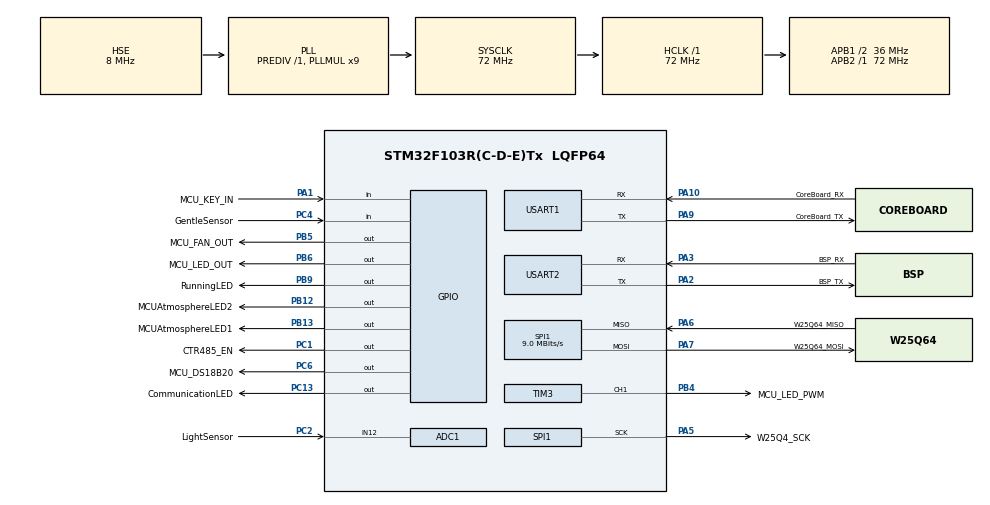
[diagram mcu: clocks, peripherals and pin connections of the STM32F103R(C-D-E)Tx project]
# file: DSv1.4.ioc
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ADC1.Channel-0\#ChannelRegularConversion=ADC_CHANNEL_12
ADC1.Channel-1\#ChannelRegularConversion=ADC_CHANNEL_TEMPSENSOR
ADC1.ContinuousConvMode=ENABLE
ADC1.DataAlign=ADC_DATAALIGN_RIGHT
ADC1.DiscontinuousConvMode=DISABLE
ADC1.EnableAnalogWatchDog=false
ADC1.EnableRegularConversion=ENABLE
ADC1.ExternalTrigConv=ADC_SOFTWARE_START
ADC1.InjNumberOfConversion=0
ADC1.NbrOfConversion=2
ADC1.NbrOfConversionFlag=1
ADC1.Rank-0\#ChannelRegularConversion=1
ADC1.Rank-1\#ChannelRegularConversion=2
ADC1.SamplingTime-0\#ChannelRegularConversion=ADC_SAMPLETIME_71CYCLES_5
ADC1.SamplingTime-1\#ChannelRegularConversion=ADC_SAMPLETIME_71CYCLES_5
ADC1.ScanConvMode=ADC_SCAN_ENABLE
ADC1.master=1
Dma.ADC1.4.Direction=DMA_PERIPH_TO_MEMORY
Dma.ADC1.4.Instance=DMA1_Channel1
Dma.ADC1.4.MemDataAlignment=DMA_MDATAALIGN_WORD
Dma.ADC1.4.MemInc=DMA_MINC_ENABLE
Dma.ADC1.4.Mode=DMA_CIRCULAR
Dma.ADC1.4.PeriphDataAlignment=DMA_PDATAALIGN_WORD
Dma.ADC1.4.PeriphInc=DMA_PINC_DISABLE
Dma.ADC1.4.Priority=DMA_PRIORITY_LOW
Dma.Request0=USART1_RX
Dma.Request1=USART1_TX
Dma.Request2=USART2_RX
Dma.Request3=USART2_TX
Dma.Request4=ADC1
Dma.USART1_RX.0.Direction=DMA_PERIPH_TO_MEMORY
Dma.USART1_RX.0.Instance=DMA1_Channel5
Dma.USART1_RX.0.MemDataAlignment=DMA_MDATAALIGN_BYTE
Dma.USART1_RX.0.MemInc=DMA_MINC_ENABLE
Dma.USART1_RX.0.Mode=DMA_NORMAL
Dma.USART1_RX.0.PeriphDataAlignment=DMA_PDATAALIGN_BYTE
Dma.USART1_RX.0.PeriphInc=DMA_PINC_DISABLE
Dma.USART1_RX.0.Priority=DMA_PRIORITY_LOW
Dma.USART1_TX.1.Direction=DMA_MEMORY_TO_PERIPH
Dma.USART1_TX.1.Instance=DMA1_Channel4
Dma.USART1_TX.1.MemDataAlignment=DMA_MDATAALIGN_BYTE
Dma.USART1_TX.1.MemInc=DMA_MINC_ENABLE
Dma.USART1_TX.1.Mode=DMA_NORMAL
Dma.USART1_TX.1.PeriphDataAlignment=DMA_PDATAALIGN_BYTE
Dma.USART1_TX.1.PeriphInc=DMA_PINC_DISABLE
Dma.USART1_TX.1.Priority=DMA_PRIORITY_LOW
Dma.USART2_RX.2.Direction=DMA_PERIPH_TO_MEMORY
Dma.USART2_RX.2.Instance=DMA1_Channel6
Dma.USART2_RX.2.MemDataAlignment=DMA_MDATAALIGN_BYTE
Dma.USART2_RX.2.MemInc=DMA_MINC_ENABLE
Dma.USART2_RX.2.Mode=DMA_NORMAL
Dma.USART2_RX.2.PeriphDataAlignment=DMA_PDATAALIGN_BYTE
Dma.USART2_RX.2.PeriphInc=DMA_PINC_DISABLE
Dma.USART2_RX.2.Priority=DMA_PRIORITY_LOW
Dma.USART2_TX.3.Direction=DMA_MEMORY_TO_PERIPH
Dma.USART2_TX.3.Instance=DMA1_Channel7
Dma.USART2_TX.3.MemDataAlignment=DMA_MDATAALIGN_BYTE
Dma.USART2_TX.3.MemInc=DMA_MINC_ENABLE
Dma.USART2_TX.3.Mode=DMA_NORMAL
Dma.USART2_TX.3.PeriphDataAlignment=DMA_PDATAALIGN_BYTE
Dma.USART2_TX.3.PeriphInc=DMA_PINC_DISABLE
Dma.USART2_TX.3.Priority=DMA_PRIORITY_LOW
Mcu.Family=STM32F1
Mcu.Name=STM32F103R(C-D-E)Tx
Mcu.Package=LQFP64
NVIC.ADC1_2_IRQn=true\:0\:0\:false\:true\:true\:10\:true
NVIC.DMA1_Channel1_IRQn=true\:0\:0\:false\:true\:true\:5\:false
NVIC.DMA1_Channel4_IRQn=true\:0\:0\:false\:true\:true\:6\:false
NVIC.DMA1_Channel5_IRQn=true\:0\:0\:false\:true\:true\:7\:false
NVIC.DMA1_Channel6_IRQn=true\:0\:0\:false\:true\:true\:8\:false
NVIC.DMA1_Channel7_IRQn=true\:0\:0\:false\:true\:true\:9\:false
NVIC.PriorityGroup=NVIC_PRIORITYGROUP_4
NVIC.TIM3_IRQn=true\:0\:0\:false\:true\:true\:11\:true
NVIC.TIM4_IRQn=true\:0\:0\:false\:true\:true\:1\:true
NVIC.TIM5_IRQn=true\:0\:0\:false\:true\:true\:2\:true
NVIC.USART1_IRQn=true\:0\:0\:false\:true\:true\:3\:true
NVIC.USART2_IRQn=true\:0\:0\:false\:true\:true\:4\:true
PA1.GPIO_Label=MCU_KEY_IN
PA1.Signal=GPIO_Input
PA10.GPIO_Label=CoreBoard_RX
PA10.GPIO_PuPd=GPIO_PULLUP
PA10.Mode=Asynchronous
PA10.Signal=USART1_RX
PA13.Mode=Serial_Wire
PA13.Signal=SYS_JTMS-SWDIO
PA14.Mode=Serial_Wire
PA14.Signal=SYS_JTCK-SWCLK
PA2.GPIO_Label=BSP_TX
PA2.Mode=Asynchronous
PA2.Signal=USART2_TX
PA3.GPIO_Label=BSP_RX
PA3.GPIO_PuPd=GPIO_PULLUP
PA3.Mode=Asynchronous
PA3.Signal=USART2_RX
PA5.GPIO_Label=W25Q4_SCK
PA5.Mode=Full_Duplex_Master
PA5.Signal=SPI1_SCK
PA6.GPIO_Label=W25Q64_MISO
PA6.Mode=Full_Duplex_Master
PA6.Signal=SPI1_MISO
PA7.GPIO_Label=W25Q64_MOSI
PA7.Mode=Full_Duplex_Master
PA7.Signal=SPI1_MOSI
PA9.GPIO_Label=CoreBoard_TX
PA9.GPIO_Mode=GPIO_MODE_AF_PP
PA9.Mode=Asynchronous
PA9.Signal=USART1_TX
PB12.GPIO_Label=MCUAtmosphereLED2
PB12.Signal=GPIO_Output
PB13.GPIO_Label=MCUAtmosphereLED1
PB13.Signal=GPIO_Output
PB4.GPIO_Label=MCU_LED_PWM
PB4.Signal=S_TIM3_CH1
PB5.GPIO_Label=MCU_FAN_OUT
PB5.Signal=GPIO_Output
PB6.GPIO_Label=MCU_LED_OUT
PB6.Signal=GPIO_Output
PB9.GPIO_Label=RunningLED
PB9.Signal=GPIO_Output
PC1.GPIO_Label=CTR485_EN
PC1.GPIO_ModeDefaultOutputPP=GPIO_MODE_OUTPUT_PP
PC1.Signal=GPIO_Output
PC13-TAMPER-RTC.GPIO_Label=CommunicationLED
PC13-TAMPER-RTC.Signal=GPIO_Output
PC2.GPIO_Label=LightSensor
PC2.Signal=ADCx_IN12
PC4.GPIO_Label=GentleSensor
PC4.GPIO_PuPd=GPIO_PULLUP
PC4.Signal=GPIO_Input
PC6.GPIO_Label=MCU_DS18B20
PC6.Signal=GPIO_Output
PD0-OSC_IN.Mode=HSE-External-Oscillator
PD0-OSC_IN.Signal=RCC_OSC_IN
PD1-OSC_OUT.Mode=HSE-External-Oscillator
PD1-OSC_OUT.Signal=RCC_OSC_OUT
ProjectManager.HeapSize=0x200
ProjectManager.StackSize=0x400
ProjectManager.TargetToolchain=Other Toolchains (GPDSC)
RCC.ADCPresc=RCC_ADCPCLK2_DIV6
RCC.AHBFreq_Value=72000000
RCC.APB1CLKDivider=RCC_HCLK_DIV2
RCC.APB1Freq_Value=36000000
RCC.APB1TimFreq_Value=72000000
RCC.APB2Freq_Value=72000000
RCC.APB2TimFreq_Value=72000000
RCC.HCLKFreq_Value=72000000
RCC.PLLMUL=RCC_PLL_MUL9
RCC.PLLSourceVirtual=RCC_PLLSOURCE_HSE
RCC.SYSCLKFreq_VALUE=72000000
RCC.SYSCLKSource=RCC_SYSCLKSOURCE_PLLCLK
RCC.USBFreq_Value=72000000
SH.ADCx_IN12.0=ADC1_IN12,IN12
SH.S_TIM3_CH1.0=TIM3_CH1,PWM Generation1 CH1
SPI1.BaudRatePrescaler=SPI_BAUDRATEPRESCALER_8
SPI1.CLKPhase=SPI_PHASE_2EDGE
SPI1.CLKPolarity=SPI_POLARITY_HIGH
SPI1.CalculateBaudRate=9.0 MBits/s
SPI1.DataSize=SPI_DATASIZE_16BIT
SPI1.Direction=SPI_DIRECTION_2LINES
SPI1.Mode=SPI_MODE_MASTER
SPI1.VirtualType=VM_MASTER
TIM3.Channel-PWM\ Generation1\ CH1=TIM_CHANNEL_1
TIM3.Period=4000-1
TIM3.Prescaler=72-1
TIM4.Period=100-1
TIM4.Prescaler=72-1
TIM5.Period=1000-1
TIM5.Prescaler=72-1
USART1.VirtualMode=VM_ASYNC
USART2.VirtualMode=VM_ASYNC
VP_ADC1_TempSens_Input.Mode=IN-TempSens
VP_TIM4_VS_ClockSourceINT.Mode=Internal
VP_TIM5_VS_ClockSourceINT.Mode=Internal
board=DSv1.4

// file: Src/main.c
/**
  ******************************************************************************
  * File Name          : main.c
  * Description        : Main program body
  ******************************************************************************
  ** This notice applies to any and all portions of this file
  * that are not between comment pairs USER CODE BEGIN and
  * USER CODE END. Other portions of this file, whether
  * inserted by the user or by software development tools
  * are owned by their respective copyright owners.
  *
  * COPYRIGHT(c) 2018 STMicroelectronics
  *
  * Redistribution and use in source and binary forms, with or without modification,
  * are permitted provided that the following conditions are met:
  *   1. Redistributions of source code must retain the above copyright notice,
  *      this list of conditions and the following disclaimer.
  *   2. Redistributions in binary form must reproduce the above copyright notice,
  *      this list of conditions and the following disclaimer in the documentation
  *      and/or other materials provided with the distribution.
  *   3. Neither the name of STMicroelectronics nor the names of its contributors
  *      may be used to endorse or promote products derived from this software
  *      without specific prior written permission.
  *
  * THIS SOFTWARE IS PROVIDED BY THE COPYRIGHT HOLDERS AND CONTRIBUTORS "AS IS"
  * AND ANY EXPRESS OR IMPLIED WARRANTIES, INCLUDING, BUT NOT LIMITED TO, THE
  * IMPLIED WARRANTIES OF MERCHANTABILITY AND FITNESS FOR A PARTICULAR PURPOSE ARE
  * DISCLAIMED. IN NO EVENT SHALL THE COPYRIGHT HOLDER OR CONTRIBUTORS BE LIABLE
  * FOR ANY DIRECT, INDIRECT, INCIDENTAL, SPECIAL, EXEMPLARY, OR CONSEQUENTIAL
  * DAMAGES (INCLUDING, BUT NOT LIMITED TO, PROCUREMENT OF SUBSTITUTE GOODS OR
  * SERVICES; LOSS OF USE, DATA, OR PROFITS; OR BUSINESS INTERRUPTION) HOWEVER
  * CAUSED AND ON ANY THEORY OF LIABILITY, WHETHER IN CONTRACT, STRICT LIABILITY,
  * OR TORT (INCLUDING NEGLIGENCE OR OTHERWISE) ARISING IN ANY WAY OUT OF THE USE
  * OF THIS SOFTWARE, EVEN IF ADVISED OF THE POSSIBILITY OF SUCH DAMAGE.
  *
  ******************************************************************************
  */

#include "main.h"
#include "stm32f1xx_hal.h"
#include "adc.h"
#include "dma.h"
#include "spi.h"
#include "tim.h"
#include "usart.h"
#include "gpio.h"

/* USER CODE BEGIN Includes */
#include "ds_led.h"
#include "ds_protocol.h"
#include "ds_gentlesensor.h"
#include "ds_log.h"
/* USER CODE END Includes */

/* USER CODE BEGIN PV */
/* Private variables ---------------------------------------------------------*/
extern  USARTRECIVETYPE     CoreBoardUsartType;
extern  USARTRECIVETYPE     DoorBoardUsartType;

uint8_t gSendDoorBoardALogFlag;
uint8_t DoorBoardALogBuffer[31];

PROTOCOLCMD  gCoreBoardProtocolCmd;
PROTOCOLCMD  gDoorBoardProtocolCmd;
GPIOSTATUSDETECTION gGentleSensorStatusDetection;
GPIOSTATUSDETECTION gMCUKeyInGpio;

uint32_t ADC_Value[10];
uint32_t gLightADCValue;
uint32_t gTempValue;

uint8_t gSetBuffer[20];
uint8_t gSendLogReportFlag = 1;
uint8_t gSendLogFlag = 0;
uint8_t gSendOpenFlag = 0;
uint8_t gLEDsCarFlag = 0;
uint8_t gPWMLedFlag = 0;
uint32_t    gLogCnt;
uint16_t    gTIM4Cnt;
uint8_t     gTIM4CntFlag;

uint16_t    gTIM5Cnt;
uint8_t     gTIM5CntFlag;
uint16_t    gTIM5LedCnt;
uint8_t     gTIM5LedFlag;
uint8_t     gTIM5PWMFlag;
uint8_t     gTIM5PWMCnt;
uint16_t    gPWMValue;
/* USER CODE END PV */

void SystemClock_Config(void);
static void MX_NVIC_Init(void);

/* USER CODE BEGIN PFP */
/* Private function prototypes -----------------------------------------------*/
void DS_SetLedPwmValue(uint16_t value);
/* USER CODE END PFP */

int main(void)
{

  /* USER CODE BEGIN 1 */
  uint8_t i = 0;
  gMCUKeyInGpio.GpioSendDataFlag = 0;
  gMCUKeyInGpio.GpioFilterCntSum = 5;
  /* USER CODE END 1 */

  /* MCU Configuration----------------------------------------------------------*/

  /* Reset of all peripherals, Initializes the Flash interface and the Systick. */
  HAL_Init();

  /* Configure the system clock */
  SystemClock_Config();

  /* Initialize all configured peripherals */
  MX_GPIO_Init();
  MX_DMA_Init();
  MX_USART1_UART_Init();
  MX_USART2_UART_Init();
  MX_ADC1_Init();
  MX_SPI1_Init();
  MX_TIM4_Init();
  MX_TIM5_Init();
  MX_TIM3_Init();

  /* Initialize interrupts */
  MX_NVIC_Init();

  /* USER CODE BEGIN 2 */
  DS_LED_Init();
  HAL_TIM_PWM_Start(&htim3, TIM_CHANNEL_1);
  HAL_ADC_Start_DMA(&hadc1,(uint32_t*)&ADC_Value,10);

  HAL_TIM_Base_Start_IT(&htim4);
  HAL_TIM_Base_Start_IT(&htim5);

  DS_GentleSensorInit();
  DS_CoreBoardProtocolInit();
  DS_DoorBoardProtocolInit();
  HAL_TIM_Base_Start_IT(&htim4);
  HAL_TIM_Base_Start_IT(&htim5);

  DS_RUNNINGLED_ON();

  /* USER CODE END 2 */

  /* Infinite loop */
  while (1)
  {

  /* USER CODE BEGIN 3 */
    if(gTIM5LedFlag)
    {
      DS_LEDS_TEST();
      gTIM5LedFlag = 0;
    }

    if(gLogCnt > 10000)
    {
      DS_ReportLogInfo();
      gLogCnt= 0;
    }

    if(gSendLogFlag && gSendLogReportFlag)
    {
      DS_ReportLogInfo();
      gSendLogFlag = 0;
    }

    /* ��Ƶ�������� */
    if(gMCUKeyInGpio.GpioSendDataFlag)
    {
      DS_SendHelpCmd();
      gMCUKeyInGpio.GpioSendDataFlag = 0;
    }

    DS_GentleSensorCheck();

    if(gTIM5PWMFlag)
    {
      if(gPWMValue > 3800)
      {
        gPWMValue = 3900;
      }
      DS_SetLedPwmValue(gPWMValue);
    }
    else
    {
      DS_SetLedPwmValue(0);
    }

    DS_HandingUartDataFromCoreBoard();
    DS_HandingCmdFromCoreBoard(&gCoreBoardProtocolCmd);

    DS_HandingUartDataFromDoorBoard();
    DS_HandingCmdFromDoorBoard(&gDoorBoardProtocolCmd);

    /* �ϴ���բA��Ϣ */
    if(2 == gSendDoorBoardALogFlag)
    {
      DS_SendDataToCoreBoard(DoorBoardALogBuffer,31,0xFFFF);
      for(i = 0; i < 31; i++)
      {
        DoorBoardALogBuffer[i] = 0;
      }
      i = 0;
      gSendDoorBoardALogFlag = 0;
    }

    if(1 == gTIM5CntFlag)
    {
      DS_TrySend5TimesCmdToCoreBoard(&gCoreBoardProtocolCmd);
      DS_TrySend5TimesCmdToDoorBoard(&gDoorBoardProtocolCmd);
      for(i = 0; i < 10;)
      {
        gLightADCValue += ADC_Value[i++];
        gTempValue += ADC_Value[i++];
      }
      gLightADCValue /= 5;
      gTempValue /=5;

      DS_UpTemInfoLog(gTempValue);
      DS_UpLightInfoLog(gLightADCValue);

      gLightADCValue = 0;
      gTempValue = 0;
      gTIM5CntFlag = 0;
    }

    if(gSendOpenFlag)
    {
      DS_SendOPenDoorCmd();
      gSendOpenFlag = 0;
    }

  }
  /* USER CODE END 3 */

}

/** System Clock Configuration
*/
void SystemClock_Config(void)
{

  RCC_OscInitTypeDef RCC_OscInitStruct;
  RCC_ClkInitTypeDef RCC_ClkInitStruct;
  RCC_PeriphCLKInitTypeDef PeriphClkInit;

    /**Initializes the CPU, AHB and APB busses clocks
    */
  RCC_OscInitStruct.OscillatorType = RCC_OSCILLATORTYPE_HSE;
  RCC_OscInitStruct.HSEState = RCC_HSE_ON;
  RCC_OscInitStruct.HSEPredivValue = RCC_HSE_PREDIV_DIV1;
  RCC_OscInitStruct.HSIState = RCC_HSI_ON;
  RCC_OscInitStruct.PLL.PLLState = RCC_PLL_ON;
  RCC_OscInitStruct.PLL.PLLSource = RCC_PLLSOURCE_HSE;
  RCC_OscInitStruct.PLL.PLLMUL = RCC_PLL_MUL9;
  if (HAL_RCC_OscConfig(&RCC_OscInitStruct) != HAL_OK)
  {
    _Error_Handler(__FILE__, __LINE__);
  }

    /**Initializes the CPU, AHB and APB busses clocks
    */
  RCC_ClkInitStruct.ClockType = RCC_CLOCKTYPE_HCLK|RCC_CLOCKTYPE_SYSCLK
                              |RCC_CLOCKTYPE_PCLK1|RCC_CLOCKTYPE_PCLK2;
  RCC_ClkInitStruct.SYSCLKSource = RCC_SYSCLKSOURCE_PLLCLK;
  RCC_ClkInitStruct.AHBCLKDivider = RCC_SYSCLK_DIV1;
  RCC_ClkInitStruct.APB1CLKDivider = RCC_HCLK_DIV2;
  RCC_ClkInitStruct.APB2CLKDivider = RCC_HCLK_DIV1;

  if (HAL_RCC_ClockConfig(&RCC_ClkInitStruct, FLASH_LATENCY_2) != HAL_OK)
  {
    _Error_Handler(__FILE__, __LINE__);
  }

  PeriphClkInit.PeriphClockSelection = RCC_PERIPHCLK_ADC;
  PeriphClkInit.AdcClockSelection = RCC_ADCPCLK2_DIV6;
  if (HAL_RCCEx_PeriphCLKConfig(&PeriphClkInit) != HAL_OK)
  {
    _Error_Handler(__FILE__, __LINE__);
  }

    /**Configure the Systick interrupt time
    */
  HAL_SYSTICK_Config(HAL_RCC_GetHCLKFreq()/1000);

    /**Configure the Systick
    */
  HAL_SYSTICK_CLKSourceConfig(SYSTICK_CLKSOURCE_HCLK);

  /* SysTick_IRQn interrupt configuration */
  HAL_NVIC_SetPriority(SysTick_IRQn, 0, 0);
}

/** NVIC Configuration
*/
static void MX_NVIC_Init(void)
{
  /* TIM4_IRQn interrupt configuration */
  HAL_NVIC_SetPriority(TIM4_IRQn, 0, 0);
  HAL_NVIC_EnableIRQ(TIM4_IRQn);
  /* TIM5_IRQn interrupt configuration */
  HAL_NVIC_SetPriority(TIM5_IRQn, 0, 0);
  HAL_NVIC_EnableIRQ(TIM5_IRQn);
  /* USART1_IRQn interrupt configuration */
  HAL_NVIC_SetPriority(USART1_IRQn, 0, 0);
  HAL_NVIC_EnableIRQ(USART1_IRQn);
  /* USART2_IRQn interrupt configuration */
  HAL_NVIC_SetPriority(USART2_IRQn, 0, 0);
  HAL_NVIC_EnableIRQ(USART2_IRQn);
  /* DMA1_Channel1_IRQn interrupt configuration */
  HAL_NVIC_SetPriority(DMA1_Channel1_IRQn, 0, 0);
  HAL_NVIC_EnableIRQ(DMA1_Channel1_IRQn);
  /* DMA1_Channel4_IRQn interrupt configuration */
  HAL_NVIC_SetPriority(DMA1_Channel4_IRQn, 0, 0);
  HAL_NVIC_EnableIRQ(DMA1_Channel4_IRQn);
  /* DMA1_Channel5_IRQn interrupt configuration */
  HAL_NVIC_SetPriority(DMA1_Channel5_IRQn, 0, 0);
  HAL_NVIC_EnableIRQ(DMA1_Channel5_IRQn);
  /* DMA1_Channel6_IRQn interrupt configuration */
  HAL_NVIC_SetPriority(DMA1_Channel6_IRQn, 0, 0);
  HAL_NVIC_EnableIRQ(DMA1_Channel6_IRQn);
  /* DMA1_Channel7_IRQn interrupt configuration */
  HAL_NVIC_SetPriority(DMA1_Channel7_IRQn, 0, 0);
  HAL_NVIC_EnableIRQ(DMA1_Channel7_IRQn);
  /* ADC1_2_IRQn interrupt configuration */
  HAL_NVIC_SetPriority(ADC1_2_IRQn, 0, 0);
  HAL_NVIC_EnableIRQ(ADC1_2_IRQn);
  /* TIM3_IRQn interrupt configuration */
  HAL_NVIC_SetPriority(TIM3_IRQn, 0, 0);
  HAL_NVIC_EnableIRQ(TIM3_IRQn);
}

/* USER CODE BEGIN 4 */

void HAL_TIM_PeriodElapsedCallback(TIM_HandleTypeDef *htim)
{
  /* Prevent unused argument(s) compilation warning */
  UNUSED(htim);
  /* NOTE : This function Should not be modified, when the callback is needed,
            the __HAL_TIM_PeriodElapsedCallback could be implemented in the user file
   */
  /* 0.1 ms*/
  if(htim4.Instance == htim->Instance)
  {
    gGentleSensorStatusDetection.GpioCurrentReadVal = HAL_GPIO_ReadPin(GentleSensor_GPIO_Port,GentleSensor_Pin);
    if(0 == gGentleSensorStatusDetection.GpioCurrentReadVal && 0 == gGentleSensorStatusDetection.GpioLastReadVal)
    {
      if(0 == gGentleSensorStatusDetection.GpioCheckedFlag)
      {
        gGentleSensorStatusDetection.GpioFilterCnt ++;
        if(gGentleSensorStatusDetection.GpioFilterCnt > gGentleSensorStatusDetection.GpioFilterCntSum && 0 == gGentleSensorStatusDetection.GpioStatusVal)
        {
          DS_UpgentleStatusInfoLog(1);
          gPWMLedFlag = 1;
          gGentleSensorStatusDetection.GpioStatusVal = 1;
          gGentleSensorStatusDetection.GpioFilterCnt = 0;
          gGentleSensorStatusDetection.GpioCheckedFlag = 1;
        }
      }
    }
    else
    {
      DS_UpgentleStatusInfoLog(0);
      gPWMLedFlag = 0;
      gGentleSensorStatusDetection.GpioCheckedFlag       = 0;
      gGentleSensorStatusDetection.GpioFilterCnt     = 0;
      gGentleSensorStatusDetection.GpioStatusVal     = 0;
      gGentleSensorStatusDetection.GpioSendDataFlag  = 1;
    }
    gGentleSensorStatusDetection.GpioLastReadVal = gGentleSensorStatusDetection.GpioCurrentReadVal;
  }

  /* 1ms */
  if(htim5.Instance == htim->Instance)
  {
    gLogCnt ++;
    gTIM5LedCnt++;
    gTIM5PWMCnt++;
      if(gTIM5PWMCnt > 3)
      {
        if(gPWMLedFlag)
        {
          gPWMValue += 2;
          gTIM5PWMFlag = 1;
        }
        else
        {
          gPWMValue = 900;
          gTIM5PWMFlag = 0;

        }
        gTIM5PWMCnt = 0;
      }
    if(gTIM5LedCnt > 200)
    {
      gTIM5LedFlag = 1;
      gTIM5LedCnt = 0;
    }

    gTIM5Cnt++;
    if(gTIM5Cnt > 300)
    {
      gTIM5CntFlag = 1;
      gTIM5Cnt = 0;
    }

    if(gGentleSensorStatusDetection.GpioValidLogicTimeCnt > 80)
    {
      gGentleSensorStatusDetection.GpioValidLogicTimeCnt--;
    }

    gMCUKeyInGpio.GpioCurrentReadVal = HAL_GPIO_ReadPin(MCU_KEY_IN_GPIO_Port,MCU_KEY_IN_Pin);
    if(0 == gMCUKeyInGpio.GpioCurrentReadVal && 0 == gMCUKeyInGpio.GpioLastReadVal)
    {
      if(0 == gMCUKeyInGpio.GpioCheckedFlag)
      {
        gMCUKeyInGpio.GpioFilterCnt ++;
        if(gMCUKeyInGpio.GpioFilterCnt > gMCUKeyInGpio.GpioFilterCntSum && gMCUKeyInGpio.GpioStatusVal)
        {
          gMCUKeyInGpio.GpioStatusVal = 1;
          gMCUKeyInGpio.GpioFilterCnt = 0;
          gMCUKeyInGpio.GpioCheckedFlag = 1;
          gMCUKeyInGpio.GpioSendDataFlag = 1;
        }
      }
    }
    else
    {
      gMCUKeyInGpio.GpioStatusVal = 0;
      gMCUKeyInGpio.GpioFilterCnt = 0;
      gMCUKeyInGpio.GpioCheckedFlag = 0;
    }
    gMCUKeyInGpio.GpioLastReadVal = gMCUKeyInGpio.GpioCurrentReadVal;
  }

}

void DS_SetLedPwmValue(uint16_t value)
{
   TIM_OC_InitTypeDef sConfigOC;
   sConfigOC.OCMode = TIM_OCMODE_PWM1;
   sConfigOC.Pulse = value;
   sConfigOC.OCPolarity = TIM_OCPOLARITY_HIGH;
   sConfigOC.OCFastMode = TIM_OCFAST_DISABLE;
   HAL_TIM_PWM_ConfigChannel(&htim3,&sConfigOC,TIM_CHANNEL_1);
   HAL_TIM_PWM_Start(&htim3, TIM_CHANNEL_1);
}

/* USER CODE END 4 */

void _Error_Handler(char * file, int line)
{
  while(1)
  {
  }
}

/************************ (C) COPYRIGHT STMicroelectronics *****END OF FILE****/
